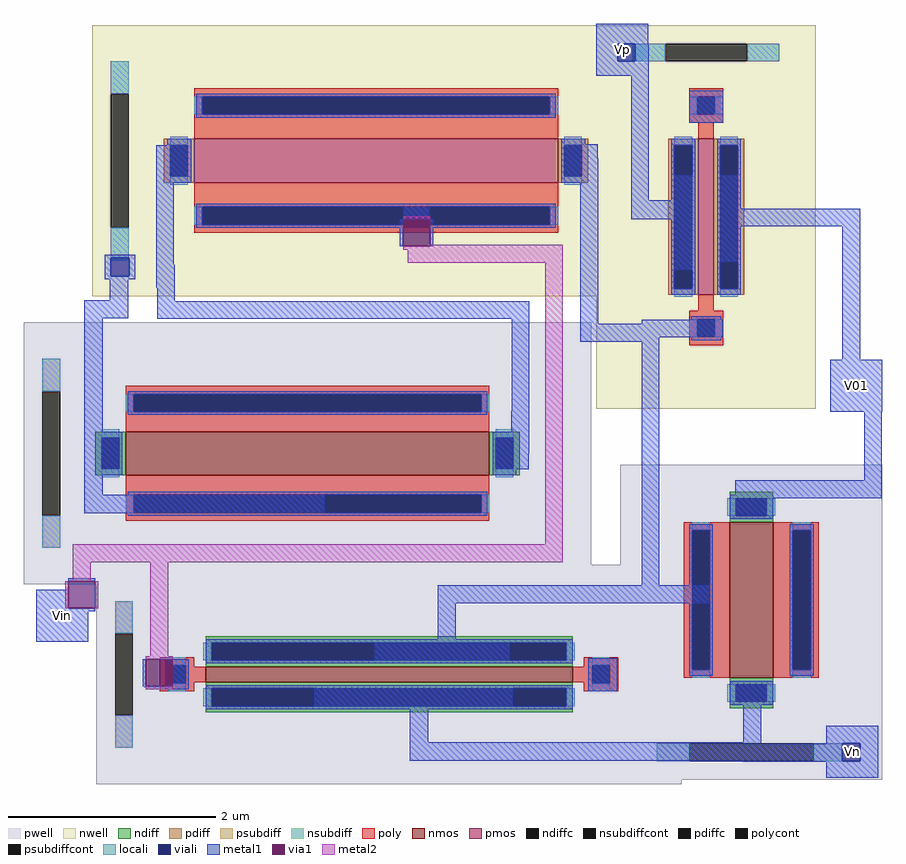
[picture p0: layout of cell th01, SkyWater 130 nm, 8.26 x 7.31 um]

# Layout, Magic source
magic
tech sky130A
magscale 1 2
<< psubdiff >>
rect 1839 -1412 1925 -1378
<< locali >>
rect 1493 -66 1522 -32
rect 484 -444 518 -413
rect 1837 -1412 1891 -1378
<< viali >>
rect 1459 -66 1493 -32
rect 484 -479 519 -444
rect 1891 -1412 1925 -1378
<< metal1 >>
rect 1418 -32 1518 6
rect 1418 -66 1459 -32
rect 1493 -35 1518 -32
rect 1493 -66 1519 -35
rect 1418 -94 1519 -66
rect 571 -287 631 -227
rect 1355 -253 1420 -225
rect 1355 -287 1421 -253
rect 472 -444 531 -438
rect 472 -479 484 -444
rect 519 -479 531 -444
rect 472 -485 531 -479
rect 571 -457 605 -287
rect 1046 -370 1096 -346
rect 1040 -422 1046 -370
rect 1098 -422 1104 -370
rect 482 -525 517 -485
rect 571 -501 607 -457
rect 433 -560 517 -525
rect 573 -527 607 -501
rect 433 -787 468 -560
rect 573 -561 1289 -527
rect 1255 -739 1289 -561
rect 1387 -571 1421 -287
rect 1485 -333 1519 -94
rect 1596 -184 1662 -122
rect 1567 -333 1601 -285
rect 1485 -336 1601 -333
rect 1485 -370 1604 -336
rect 1657 -349 1691 -285
rect 1567 -467 1601 -370
rect 1657 -383 1925 -349
rect 1657 -451 1691 -383
rect 1505 -571 1661 -563
rect 1387 -597 1661 -571
rect 1387 -605 1539 -597
rect 1254 -787 1289 -739
rect 433 -851 501 -787
rect 1223 -821 1289 -787
rect 1223 -851 1288 -821
rect 433 -900 468 -851
rect 433 -935 895 -900
rect 402 -1066 454 -1060
rect 340 -1118 402 -1082
rect 1505 -1074 1539 -605
rect 1891 -640 1925 -383
rect 1868 -740 1968 -640
rect 1933 -872 1967 -740
rect 1685 -906 1967 -872
rect 1686 -938 1748 -906
rect 340 -1124 454 -1118
rect 1113 -1108 1640 -1074
rect 340 -1182 440 -1124
rect 1113 -1185 1147 -1108
rect 545 -1268 551 -1216
rect 603 -1268 628 -1216
rect 991 -1219 1251 -1185
rect 548 -1270 628 -1268
rect 1059 -1273 1094 -1271
rect 875 -1308 1257 -1273
rect 1402 -1278 1458 -1214
rect 1700 -1265 1734 -1264
rect 1683 -1299 1753 -1265
rect 1059 -1376 1094 -1308
rect 1700 -1376 1735 -1299
rect 1059 -1379 1735 -1376
rect 1860 -1378 1960 -1344
rect 1860 -1379 1891 -1378
rect 1059 -1411 1891 -1379
rect 1700 -1412 1891 -1411
rect 1925 -1412 1960 -1378
rect 1700 -1413 1960 -1412
rect 1860 -1444 1960 -1413
<< via1 >>
rect 1046 -422 1098 -370
rect 402 -1118 454 -1066
rect 551 -1268 603 -1216
<< metal2 >>
rect 1046 -370 1098 -364
rect 1098 -422 1353 -419
rect 1046 -428 1353 -422
rect 1055 -453 1353 -428
rect 1319 -995 1353 -453
rect 411 -1029 1353 -995
rect 411 -1066 445 -1029
rect 396 -1118 402 -1066
rect 454 -1118 460 -1066
rect 560 -1210 594 -1029
rect 551 -1216 603 -1210
rect 551 -1274 603 -1268
use sky130_fd_pr__nfet_01v8_SHU4BF  XM0
transform 0 -1 1019 1 0 -1245
box -211 -563 211 563
use sky130_fd_pr__pfet_01v8_HE9GT9  XM1
transform 1 0 994 0 1 -257
box -546 -261 546 261
use sky130_fd_pr__nfet_01v8_LHD8GA  XM2
transform 1 0 862 0 1 -820
box -546 -252 546 252
use sky130_fd_pr__pfet_01v8_XJP3BL  XM3
transform -1 0 1629 0 -1 -365
box -211 -369 211 369
use sky130_fd_pr__nfet_01v8_LH5FDA  XM4
transform 0 -1 1716 -1 0 -1102
box -260 -252 346 252
<< labels >>
flabel metal1 1860 -1444 1960 -1344 0 FreeSans 256 0 0 0 Vn
port 3 nsew
flabel metal1 1868 -740 1968 -640 0 FreeSans 256 0 0 0 V01
port 2 nsew
flabel metal1 1418 -94 1518 6 0 FreeSans 256 0 0 0 Vp
port 0 nsew
flabel metal1 340 -1182 440 -1082 0 FreeSans 256 0 0 0 Vin
port 1 nsew
<< end >>

# cell sky130_fd_pr__nfet_01v8_SHU4BF: kit device sky130_fd_pr__nfet_01v8, w 3.525 l 0.15 m 1 nf 1 diffcov 100 polycov 100 guard 1 glc 1 grc 1 gtc 1 gbc 1 tbcov 100 rlcov 100 topc 1 botc 1 poverlap 0 doverlap 1 lmin 0.15 wmin 0.42 compatible {sky130_fd_pr__nfet_01v8 sky130_fd_pr__nfet_01v8_lvt sky130_fd_bs_flash__special_sonosfet_star sky130_fd_pr__nfet_g5v0d10v5 sky130_fd_pr__nfet_05v0_nvt sky130_fd_pr__nfet_03v3_nvt} full_metal 1 viasrc 100 viadrn 100 viagate 100 viagb 0 viagr 0 viagl 0 viagt 0

# cell sky130_fd_pr__pfet_01v8_HE9GT9: kit device sky130_fd_pr__pfet_01v8, w 0.42 l 3.5 m 1 nf 1 diffcov 100 polycov 100 guard 1 glc 1 grc 1 gtc 1 gbc 1 tbcov 100 rlcov 100 topc 1 botc 1 poverlap 0 doverlap 1 lmin 0.15 wmin 0.42 compatible {sky130_fd_pr__pfet_01v8 sky130_fd_pr__pfet_01v8_lvt sky130_fd_pr__pfet_01v8_hvt sky130_fd_pr__pfet_g5v0d10v5} full_metal 1 viasrc 100 viadrn 100 viagate 100 viagb 0 viagr 0 viagl 0 viagt 0

# cell sky130_fd_pr__nfet_01v8_LHD8GA: kit device sky130_fd_pr__nfet_01v8, w 0.42 l 3.5 m 1 nf 1 diffcov 100 polycov 100 guard 1 glc 1 grc 1 gtc 1 gbc 1 tbcov 100 rlcov 100 topc 1 botc 1 poverlap 0 doverlap 1 lmin 0.15 wmin 0.42 compatible {sky130_fd_pr__nfet_01v8 sky130_fd_pr__nfet_01v8_lvt sky130_fd_bs_flash__special_sonosfet_star sky130_fd_pr__nfet_g5v0d10v5 sky130_fd_pr__nfet_05v0_nvt sky130_fd_pr__nfet_03v3_nvt} full_metal 1 viasrc 100 viadrn 100 viagate 100 viagb 0 viagr 0 viagl 0 viagt 0

# cell sky130_fd_pr__pfet_01v8_XJP3BL: kit device sky130_fd_pr__pfet_01v8, w 1.5 l 0.15 m 1 nf 1 diffcov 100 polycov 100 guard 1 glc 1 grc 1 gtc 1 gbc 1 tbcov 100 rlcov 100 topc 1 botc 1 poverlap 0 doverlap 1 lmin 0.15 wmin 0.42 compatible {sky130_fd_pr__pfet_01v8 sky130_fd_pr__pfet_01v8_lvt sky130_fd_pr__pfet_01v8_hvt sky130_fd_pr__pfet_g5v0d10v5} full_metal 1 viasrc 100 viadrn 100 viagate 100 viagb 0 viagr 0 viagl 0 viagt 0

# cell sky130_fd_pr__nfet_01v8_LH5FDA: kit device sky130_fd_pr__nfet_01v8, w 0.42 l 1.5 m 1 nf 1 diffcov 100 polycov 100 guard 1 glc 1 grc 1 gtc 1 gbc 1 tbcov 100 rlcov 100 topc 1 botc 1 poverlap 0 doverlap 1 lmin 0.15 wmin 0.42 compatible {sky130_fd_pr__nfet_01v8 sky130_fd_pr__nfet_01v8_lvt sky130_fd_bs_flash__special_sonosfet_star sky130_fd_pr__nfet_g5v0d10v5 sky130_fd_pr__nfet_05v0_nvt sky130_fd_pr__nfet_03v3_nvt} full_metal 1 viasrc 100 viadrn 100 viagate 100 viagb 0 viagr 0 viagl 0 viagt 0
